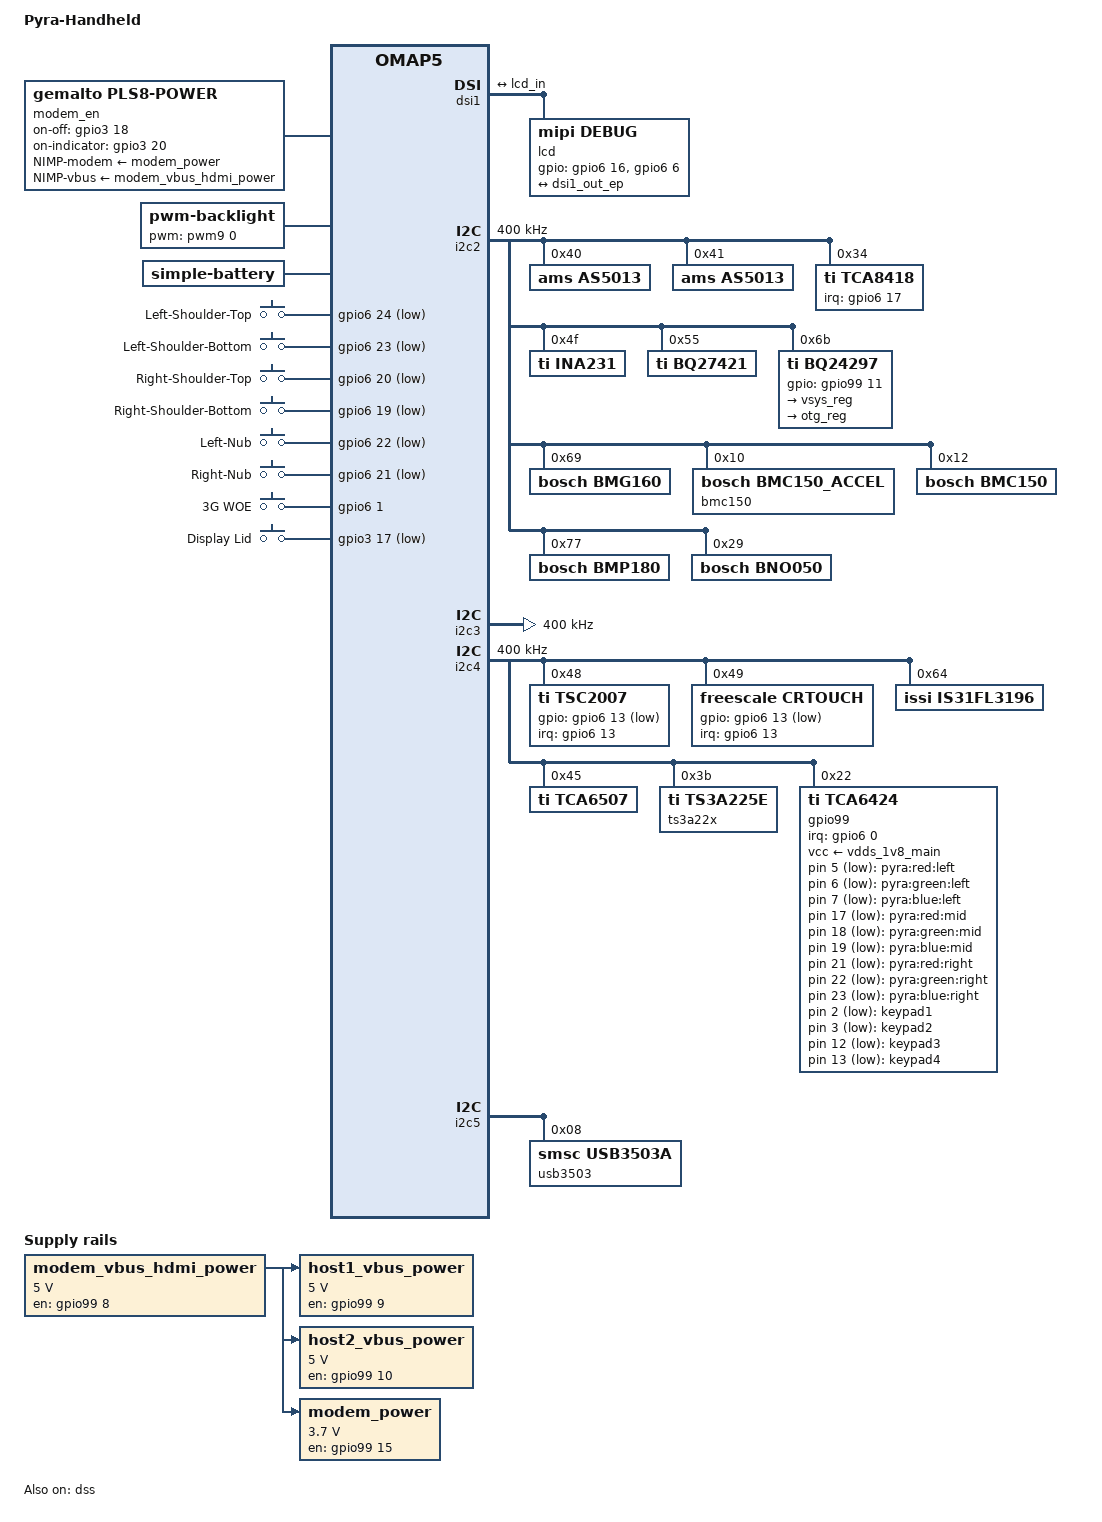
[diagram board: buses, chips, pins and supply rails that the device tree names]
/*
 * Copyright (C) 2014 OpenPandora - http://www.pyra-handheld.com/
 *
 * This program is free software; you can redistribute it and/or modify
 * it under the terms of the GNU General Public License version 2 as
 * published by the Free Software Foundation.
 */

/*
 * this version is for DragonFly Mainboard V4(.x) connected to EVM
 * we start with the omap5-uevm tree since the Pyra is currently a
 * separate board connected to the EVM expansion connector(s)
 */

#include "omap5-uevm.dts"

/* overwrite device model */

/ {
	model = "Pyra-Handheld";

	aliases {
		display0 = &lcd;
		display1 = &hdmi0;
	};

	/* DC/DC converter for LCD panel */
/* disabled because the r63311 driver can control it */
/*	dsi1_panel_power: dsi1_panel_power_reg {
		compatible = "regulator-fixed";
		regulator-name = "dsi1_panel_power";
		regulator-min-microvolt = <5000000>;
		regulator-max-microvolt = <5000000>;
		gpio = <&gpio6 6 0>;	/ * gpio6_166 = display-enable * /
		startup-delay-us = <70000>;
		enable-active-high;
	}; */

	/* DC/DC converter for USB Host ports, Modem USB and HDMI 5V */
	modem_vbus_hdmi_power: tps2505_reg {
		compatible = "regulator-fixed";
		regulator-name = "modem_vbus_hdmi_power";
		regulator-min-microvolt = <5000000>;
		regulator-max-microvolt = <5000000>;
		gpio = <&gpio99 8 GPIO_ACTIVE_HIGH>;
		enable-active-high;
		startup-delay-us = <70000>;
//		vin-supply = <&vsys>;
		regulator-always-on;
	};

	/* this are the DC/DC converters that supply the
	   5V to USB devices connected to the Host ports.
	   They should be under the (software) control
	   of the USB3503A hub on the CPU board */

	host1_vbus_power:host1_vbus_power_reg {
		compatible = "regulator-fixed";
		regulator-name = "host1_vbus_power";
		regulator-min-microvolt = <5000000>;
		regulator-max-microvolt = <5000000>;
		gpio = <&gpio99 9 GPIO_ACTIVE_HIGH>;
		enable-active-high;
		startup-delay-us = <70000>;
		vin-supply = <&modem_vbus_hdmi_power>;
		regulator-always-on;
	};

	host2_vbus_power: host2_vbus_power_reg {
		compatible = "regulator-fixed";
		regulator-name = "host2_vbus_power";
		regulator-min-microvolt = <5000000>;
		regulator-max-microvolt = <5000000>;
		gpio = <&gpio99 10 GPIO_ACTIVE_HIGH>;
		enable-active-high;
		startup-delay-us = <70000>;
		vin-supply = <&modem_vbus_hdmi_power>;
		regulator-always-on;
	};

	/* this is the modem power switch (similar to a LDO) */
	modem_power: modem_power_reg {
		compatible = "regulator-fixed";
		regulator-name = "modem_vbus_power";
		regulator-min-microvolt = <3700000>;
		regulator-max-microvolt = <3700000>;
		gpio = <&gpio99 15 GPIO_ACTIVE_HIGH>;
		enable-active-high;
		startup-delay-us = <100000>;
		/* the real input is vsys but it makes no sense
		   to power the modem without requesting vbus */
		vin-supply = <&modem_vbus_hdmi_power>;
		regulator-always-on;
	};

	modem_en: modem { /* control modem power through rfkill */
		compatible = "gemalto,pls8-power";
		gpio-controller;
		#gpio-cells = <2>;
		NIMP-usb-port = <&hsusb2_phy>; 	/* USB phy where we can check the modem status */
		on-off-gpio = <&gpio3 18 GPIO_ACTIVE_HIGH>;	/* GPIO3_82: trigger to power on modem */
		on-indicator-gpio = <&gpio3 20 GPIO_ACTIVE_HIGH>;	/* Feedback GPIO */
		NIMP-modem-supply = <&modem_power>;		/* enable external power regulator */
		/* VBUS supply should probably be controlled through the USB PHY driver for the modem port */
		NIMP-vbus-supply = <&modem_vbus_hdmi_power>;	/* apply VBUS to the modem */
	};

/*	mic_presence {
/* FIXME: a dedicated TS3A225 driver can reprogram the MIC_PRESENT line through I2C into an INT so we can detect other changes (e.g. mic button pressed) * /
		compatible = "extcon-gpio";
		label = "mic_presence";
		interrupt-parent = <&gpio99>;
		interrupts = <14 IRQ_TYPE_EDGE_BOTH>;
		gpios = <&gpio99 14 GPIO_ACTIVE_LOW>;
		// debounce-delay-ms = <10>; -- not available at tca6424
		state-on = "present";
		state-off = "unplugged";
	}; */

/* FIXME: having both leads to an irq conflict */
/*	mic_presence_evm { /* move this to omap5-uevm.dts */
/*		compatible = "extcon-gpio";
		label = "mic_presence_evm";
		interrupt-parent = <&gpio9>;
		interrupts = <14 IRQ_TYPE_EDGE_BOTH>;
		gpios = <&gpio9 14 GPIO_ACTIVE_LOW>;
		// debounce-delay-ms = <10>; -- not available at tca6424
		state-on = "present";
		state-off = "unplugged";
	}; */

/*	extcon_test { /* if enabled, disable BTN1 */
/*		compatible = "extcon-gpio";
		label = "user_button";
		interrupt-parent = <&gpio3>;
		interrupts = <19 2>;
		gpios = <&gpio3 19 1>;	/* gpio3_83 is BTN1 */
/*		debounce-delay-ms = <50>;
		state-on = "status-on";
		state-off = "status-off";
	}; */

	backlight {
		compatible = "pwm-backlight";
		pwms = <&pwm9 0 12000000 0>;
		pwm-names = "backlight";
		brightness-levels = <0 11 20 30 40 50 60 70 80 90 100>;
		default-brightness-level = <9>;	/* => 90 */
		pinctrl-names = "default";
		pinctrl-0 = <&backlight_pins>;
	};

	pwm9: dmtimer-pwm@9 {
		compatible = "ti,omap-dmtimer-pwm";
		ti,timers = <&timer9>;
		#pwm-cells = <3>;
	};

	bat: battery {
		compatible = "simple-battery", "pyra-battery";
		voltage-min-design-microvolt = <3200000>;
		energy-full-design-microwatt-hours = <22200000>;
		charge-full-design-microamp-hours = <6000000>;
	};

};

&palmas_power_button {
	ti,palmas-long-press-seconds = <8>;
	ti,palmas-pwron-debounce-milli-seconds = <15>;
};

/* Audio routing */

&sound {
	ti,model = "Pyra-Handheld";

	/* Audio routing */
	ti,audio-routing =
		"Headset Stereophone", "HSOL",
		"Headset Stereophone", "HSOR",
		"Ext Spk", "HFL",
		"Ext Spk", "HFR",
		"Line Out", "AUXL",
		"Line Out", "AUXR",
		"AFML", "Line In",
		"AFMR", "Line In",
		"HSMIC", "Headset Mic",
		"Headset Mic", "Headset Mic Bias";
};

/* LCD panel - MIPI */

&dss {
	status = "ok";

	pinctrl-names = "default";
	pinctrl-0 = <&pyra_dsi_a>;
};

&dsi1 {
	status = "ok";

	vdd-supply = <&ldo4_reg>;

	port {
		dsi1_out_ep: endpoint {
			remote-endpoint = <&lcd_in>;
			lanes = <
				0       /* lane0x = clk + */
				1       /* lane0y = clk - */
				2       /* lane1x = data1 + */
				3       /* lane1y = data1 - */
				4       /* lane2x = data2 + */
				5       /* lane2y = data2 - */
				6       /* lane3x = data3 + */
				7       /* lane3y = data3 - */
				8       /* lane4x = data4 + */
				9       /* lane4y = data4 - */
			>;
		};
	};

	lcd: lcd {
		/* default to be overwritten by specific panel in derived board file
		   by using the /root/panelselect script */
		compatible = "mipi,debug";
		label = "lcd";

		pinctrl-names = "default";
		pinctrl-0 = <&pyra_display_pins>;

		gpios =
			<&gpio6 16 0>,	/* goip6_176 = display reset */
			<&gpio6 6 0>;	/* gpio6_166 = enable DC/DC */

		port {
			lcd_in: endpoint {
				remote-endpoint = <&dsi1_out_ep>;
			};
		};
	};
};


/* add overlay pimmux for pyra on 5432evm */

&mcspi3_pins {
		pinctrl-single,pins = <
/* allow to reuse as real gpio:	0x78 (PIN_INPUT | MUX_MODE1)	/*  mcspi3_somi = gpio3_84 */
			0x7a (PIN_INPUT | MUX_MODE1)		/*  mcspi3_cs0 = gpio3_85 */
			0x7c (PIN_INPUT | MUX_MODE1)		/*  mcspi3_simo = gpio3_86 */
			0x7e (PIN_INPUT | MUX_MODE1)		/*  mcspi3_clk =gpio3_87 */
		>;
	};

&omap5_pmx_core {

	pinctrl-0 = <
			/* copied from original */
			&usbhost_pins
			&led_gpio_pins

			/* new entries */
			&pyra_button_pins
			// &pyra_display_pins
			&pyra_other_pins
			// &i2c2_pins
			// &i2c3_pins
			// &i2c4_pins
			// &i2c5_pins
			// &pyra_dsi_a
	>;

/* this is for DragonFly V4 connected to EVM through a ribbon acable
// inputs
#define GPIO_LID 81			// lid close sensor - gpio3-81 - open collector output
#define GPIO_3G_PWR 84			// modem power indication - gpio3-84
#define GPIO_WAKEUP -1			// wakeup from modem - n/a
#define GPIO_PENIRQ 173		// touch screen controller IRQ - gpio6-173
#define GPIO_LNUB_IRQ 174		// left nub IRQ - n/a
#define GPIO_RNUB_IRQ 175		// right nub IRQ - n/a
#define GPIO_KEYIRQ 177		// keyboard controller IRQ - gpio6-177
#define GPIO_RSH_BOT 179		// right bottom shoulder button - gpio6-179 - closes to GND
#define GPIO_RSH_TOP 180		// right top shoulder button - gpio6-180 - closes to GND
#define GPIO_RNUB 181			// right nub center button - gpio6-181 - closes to GND
#define GPIO_LNUB 182			// left nub center button - gpio6-182 - closes to GND
#define GPIO_LSH_BOT 183		// left bottom shoulder button - gpio6-183 - closes to GND
#define GPIO_LSH_TOP 184		// left top shoulder button - gpio6-184 - closes to GND
#define GPIO_VSYNC 189			// VSYNC input (gpio6_189 in: comes from panel)
// outputs
#define GPIO_3G_IGNITE 82		// start modem (active high pulse) - gpio3-82
#define GPIO_DISPEN 166		// enable TPS65133 or ssd2858 - gpio6_166
#define GPIO_DISPLAY_RESET 176		// panel reset (active low)/enable - gpio6_176
#define GPIO_PWM 190			// enable 18V backlight (active high) - timer9/gpio6_190 (out) - or input to track what the panel is doing
#define GPIO_PERIPHERAL_RESET 230	// device reset (active low)/enable - gpio8_230
*/

/* to find pinmux register offsets, see section A.7.2 in TRM

   note: offsets in the table are relative to 0x4a00 2800
   but reg = <0x4a002840 0x01b6> for omap5_pmx_core

   Therefore gpio5_153 with Address Offset 0x1D4
   translates into 0x194 (0xd0-0x40 => 0x90)
   and because it has [31:16] we have to add 0x02
   giving a result of 0x196.

   Definitions for bit patterns:
   0x0007	MUX_MODE0 .. MUX_MODE7
   0x0008	enable pull up/down
   0x0010	select pull up
   0x0020	disable power for I/O cell
   0x0100	enable input buffer (there is no explicit "enable output buffer" because that is defined by the GPIO direction)
   0x4000	enable wakeup detection

   or use the OMAP5_IOPAD() macros to do the conversion. You still have to look
   up the pin and register address offset in the TRM.
*/

	pyra_button_pins: pinmux_button_gpio_pins {
		pinctrl-single,pins = <
			OMAP5_IOPAD(0x0b2, PIN_INPUT_PULLUP | MUX_MODE6)	/* 0x0B0:[31:16] gpio3_81 - lid */
			OMAP5_IOPAD(0x12e, PIN_INPUT_PULLUP | MUX_MODE6)	/* 0x12C:[31:16] gpio6_161 */
			OMAP5_IOPAD(0x10c, PIN_INPUT_PULLUP | MUX_MODE6)	/* 0x10C:[15:0]  gpio6_177 */
			OMAP5_IOPAD(0x108, PIN_INPUT_PULLUP | MUX_MODE6)	/* 0x108:[15:0]  gpio6_179 */
			OMAP5_IOPAD(0x106, PIN_INPUT_PULLUP | MUX_MODE6)	/* 0x104:[31:16] gpio6_180 */
			OMAP5_IOPAD(0x104, PIN_INPUT_PULLUP | MUX_MODE6)	/* 0x104:[15:0]  gpio6_181 */
			OMAP5_IOPAD(0x130, PIN_INPUT_PULLUP | MUX_MODE6)	/* 0x130:[15:0]  gpio6_182 */
			OMAP5_IOPAD(0x132, PIN_INPUT_PULLUP | MUX_MODE6)	/* 0x130:[31:16] gpio6_183 */
			OMAP5_IOPAD(0x134, PIN_INPUT_PULLUP | MUX_MODE6)	/* 0x134:[15:0]  gpio6_184 */
		>;
	};

	pyra_display_pins: pinmux_display_gpio_pins {
		pinctrl-single,pins = <
			OMAP5_IOPAD(0x122, PIN_OUTPUT_PULLUP | MUX_MODE6)	/* 0x120:[31:16] gpio6_166 - enable panel DC/DC */
			OMAP5_IOPAD(0x10e, PIN_OUTPUT_PULLDOWN | MUX_MODE6)	/* 0x10c:[31:16] gpio6_176 - panel reset */
		>;
	};

	pyra_other_pins: pinmux_other_gpio_pins {
		pinctrl-single,pins = <
			OMAP5_IOPAD(0x12c, PIN_INPUT_PULLUP | MUX_MODE6)	/* 0x12C:[15:0]  gpio6_160 - TCA6424 active low interrupt */
			OMAP5_IOPAD(0x0b4, PIN_OUTPUT_PULLDOWN | MUX_MODE6)	/* 0x108:[15:0]  gpio3_82 - start modem */
			OMAP5_IOPAD(0x0b8, PIN_INPUT | MUX_MODE6)	/* 0x108:[15:0] gpio3_84 - modem power ind */
			OMAP5_IOPAD(0x114, PIN_INPUT_PULLUP | MUX_MODE6)	/* 0x114:[15:0]  gpio6_173 - touch screen */
			OMAP5_IOPAD(0x178, PIN_INPUT_PULLUP | MUX_MODE6)	/* 0x178:[15:0]  gpio8_230 - reset I2C peripherals */
		>;
	};

	backlight_pins: pinmux_backlight_pins {
		pinctrl-single,pins = <
			/* MUX_MODE0 for PWM_TIMER9, MUX_MODE6 for GPIO, MUX_MODE7 if panel provides the PWM signal */
			OMAP5_IOPAD(0x0f6, PIN_OUTPUT_PULLDOWN | MUX_MODE0)	/* 0x0F4:[31:16] timer9/gpio6_190 */
		>;
	};

/* I2C pinmux */

	i2c2_pins: pinmux_i2c2_pins {
		pinctrl-single,pins = <
			OMAP5_IOPAD(0x1b8, PIN_INPUT_PULLUP | MUX_MODE0)		/* i2c2_scl */
			OMAP5_IOPAD(0x1ba, PIN_INPUT_PULLUP | MUX_MODE0)		/* i2c2_sda */
		>;
	};

	i2c3_pins: pinmux_i2c3_pins {
		pinctrl-single,pins = <
			OMAP5_IOPAD(0x17a, PIN_INPUT_PULLUP | MUX_MODE0)		/* i2c3_scl */
			OMAP5_IOPAD(0x17c, PIN_INPUT_PULLUP | MUX_MODE0)		/* i2c3_sda */
		>;
	};

	i2c4_pins: pinmux_i2c4_pins {
		pinctrl-single,pins = <
			OMAP5_IOPAD(0x0f8, PIN_INPUT_PULLUP | MUX_MODE0)		/* i2c4_scl (gpio7_200) */
			OMAP5_IOPAD(0x0fa, PIN_INPUT_PULLUP | MUX_MODE0)		/* i2c4_sda (gpio7_201) */
		>;
	};

/*	i2c5_pins: pinmux_i2c5_pins {
		pinctrl-single,pins = <
// CHECKME: is this 0x186 + 0x188 or 0x184+0x186 as defined in omap5.dtsi?
			OMAP5_IOPAD(0x1c6, PIN_INPUT | MUX_MODE0)		/* i2c5_scl * /
			OMAP5_IOPAD(0x1c8, PIN_INPUT | MUX_MODE0)		/* i2c5_sda * /
		>;
	}; */

/* enable MIPI pinmux - we may not really need this because the PinMux only has MUX_MODE0 */

	pyra_dsi_a: pinmux_dsi_a_pins {
		pinctrl-single,pins = <
			OMAP5_IOPAD(0x0cc, PIN_OUTPUT | MUX_MODE0)	/* 0x0cc:[15:0]  dsiporta_lane0x */
			OMAP5_IOPAD(0x0ce, PIN_OUTPUT | MUX_MODE0)	/* 0x0cc:[31:16] dsiporta_lane0y */
			OMAP5_IOPAD(0x0d0, PIN_OUTPUT | MUX_MODE0)	/* 0x0d0:[15:0]  dsiporta_lane1x */
			OMAP5_IOPAD(0x0d2, PIN_OUTPUT | MUX_MODE0)	/* 0x0d0:[31:16] dsiporta_lane1y */
			OMAP5_IOPAD(0x0d4, PIN_OUTPUT | MUX_MODE0)	/* 0x0d4:[15:0]  dsiporta_lane2x */
			OMAP5_IOPAD(0x0d6, PIN_OUTPUT | MUX_MODE0)	/* 0x0d4:[31:16] dsiporta_lane2y */
			OMAP5_IOPAD(0x0d8, PIN_OUTPUT | MUX_MODE0)	/* 0x0d8:[15:0]  dsiporta_lane3x */
			OMAP5_IOPAD(0x0da, PIN_OUTPUT | MUX_MODE0)	/* 0x0d8:[31:16] dsiporta_lane3y */
			OMAP5_IOPAD(0x0dc, PIN_OUTPUT | MUX_MODE0)	/* 0x0dc:[15:0]  dsiporta_lane4x */
			OMAP5_IOPAD(0x0de, PIN_OUTPUT | MUX_MODE0)	/* 0x0dc:[31:16] dsiporta_lane4y */
		>;
	};

	ssd2858_vsync_pins: pinmux_ssd2858_vsync_pins {
		pinctrl-single,pins = <
			OMAP5_IOPAD(0x0ca, PIN_INPUT_PULLDOWN | MUX_MODE6)	/* 0x0C8:[31:16] gpio6_189 - VSYNC input */
		>;
	};

};

&i2c2 {
	clock-frequency = <400000>;

	pinctrl-names = "default";
	pinctrl-0 = <&i2c2_pins>;
};

&i2c3 {
	clock-frequency = <400000>;

	pinctrl-names = "default";
	pinctrl-0 = <&i2c3_pins>;
};

&i2c4 {
	clock-frequency = <400000>;

	pinctrl-names = "default";
	pinctrl-0 = <&i2c4_pins>;
};

/* register devices connected to Panel-I2C */
&i2c4 {
	/* touchscreen */
	tsc2007@48 {
		compatible = "ti,tsc2007";
		reg = <0x48>;
		pinctrl-names = "default";
/* FIXME:		pinctrl-0 = <&penirq_pins>; */
		interrupt-parent = <&gpio6>;
		interrupts = <13 IRQ_TYPE_EDGE_FALLING>;	/* gpio6_173 falling edge */
		gpios = <&gpio6 13 GPIO_ACTIVE_LOW>;	/* gpio6_173 active low */
/* note: overwrite for rotated screen */
		touchscreen-size-x = <720>;
		touchscreen-size-y = <1280>;
		touchscreen-max-pressure = <1000>;
		touchscreen-fuzz-x = <2>;
		touchscreen-fuzz-y = <5>;
		touchscreen-fuzz-pressure = <50>;
		touchscreen-inverted-y;
		ti,min-x = <140>;
		ti,max-x = <3870>;
		ti,min-y = <50>;
		ti,max-y = <3970>;
		ti,max-rt = <2000>;
		ti,x-plate-ohms = <550>;
	};

	crtouch@49 {
		compatible = "freescale,crtouch";
		reg = <0x49>;
		interrupt-parent = <&gpio6>;
		interrupts = <13 IRQ_TYPE_EDGE_FALLING>;	/* gpio6_173 falling edge */
		gpios = <&gpio6 13 1>;	/* gpio6_173 active low */
		/* more paramters tbd. */
	};

	/* leds */
	is31fl3196@64 {
		compatible = "issi,is31fl3196";
		#address-cells = <1>;
		#size-cells = <0>;
		reg = <0x64>;

		display_led0: red_bottom@0 {
			label = "logo:red:bottom";
			reg = <0>;
			linux,default-trigger = "mmc0";
		};

		display_led1: green_bottom@1 {
			label = "logo:green:bottom";
			reg = <1>;
			linux,default-trigger = "heartbeat";
		};

		display_led2: blue_bottom@2 {
			label = "logo:blue:bottom";
			reg = <2>;
			linux,default-trigger = "timer";
		};

		display_led3: red_top@3 {
			label = "logo:red:top";
			reg = <3>;
			linux,default-trigger = "mmc1";
		};

		display_led4: green_top@4 {
			label = "logo:green:top";
			reg = <4>;
			linux,default-trigger = "timer";
		};

		display_led5: blue_top@5 {
			label = "logo:blue:top";
			reg = <5>;
			linux,default-trigger = "default-on";
		};
	};

	tca6507@45 {
		compatible = "ti,tca6507";
		#address-cells = <1>;
		#size-cells = <0>;
		reg = <0x45>;

		/* unused */
		/* gpio-controller;
		#gpio-cells = <2>; */

		red_aux@0 {
			label = "display::led-0";
			reg = <0x0>;
			linux,default-trigger = "mmc0";
		};

		green_aux@1 {
			label = "display::led-1";
			reg = <0x1>;
			linux,default-trigger = "heartbeat";
		};

		blue_aux@2 {
			label = "display::led-2";
			reg = <0x2>;
			linux,default-trigger = "timer";
		};

		set1@3 {
			label = "display::led-3";
			reg = <0x3>;
			linux,default-trigger = "default-on";
		};

		set2@4 {
			label = "display::led-4";
			reg = <0x4>;
			linux,default-trigger = "timer";
		};

		set3@5 {
			label = "display::led-5";
			reg = <0x5>;
			linux,default-trigger = "mmc0";
		};

		set4@6 {
			label = "display::led-6";
			reg = <0x6>;
			linux,default-trigger = "heartbeat";
		};

	};

};

/* register devices connected to Peripheral-I2C */
&i2c2 {

	/* left nub */
	as5013@40 {
		compatible = "ams,as5013";
		reg = <0x40>;
		// gpios = <&gpio...>, <&gpio>;
	};

	/* right nub */
	as5013@41 {
		compatible = "ams,as5013";
		reg = <0x41>;
		// gpios = <&gpio...>, <&gpio>;
	};

	/* keyboard scanner */
	tca8418@34 {
		compatible = "ti,tca8418";	/* this translates into request_module("i2c:tca8418")
									   so it must be known as a MODULE_ALIAS to modprobe -c */
		reg = <0x34>;
		/* the interrupt is specified as:
			The first cell is the GPIO number.
			The second cell is used to specify flags:
			bits[3:0] trigger type and level flags:
				1 = low-to-high edge triggered.
				2 = high-to-low edge triggered.
				4 = active high level-sensitive.
				8 = active low level-sensitive.
		 */
		interrupt-parent = <&gpio6>;
		interrupts = <17 IRQ_TYPE_EDGE_RISING>;	/* gpio6_177 low-to-high edge */
		keypad,num-rows = <8>;
		keypad,num-columns = <10>;
		linux,keymap = <
	/* The 32-bit big endian cell is packed as: row << 24 | column << 16 | key-code */

			0x0306003b
			0x0203003c
			0x02040057
			0x01080058
			0x0102003d
			0x0701003e
			0x07030002
			0x06070003
			0x06010004
			0x05050005
			0x06060006
			0x04030007
			0x03070008
			0x03050009
			0x0205000a
			0x0107000b
			0x0702000e
			0x0503000f
			0x06040010
			0x05080011
			0x05020012
			0x04060013
			0x06020014
			0x03040015
			0x02080016
			0x02020017
			0x01060018
			0x00050019
			0x0004001c
			0x0400002a
			0x0506001e
			0x0401001f
			0x04040020
			0x03080021
			0x03020022
			0x02060023
			0x01030024
			0x01040025
			0x00080026
			0x00020036
			0x07060033
			0x06030034
			0x0507002c
			0x0501002d
			0x0405002e
			0x0407002f
			0x03030030
			0x02070031
			0x07040032
			0x01050039
			0x00070039
			0x00000064
			0x01090069
			0x0309006a
			0x00090067
			0x0209006c
			0x05090066
			0x0709006b
			0x04090068
			0x0609006d
			0x03000038
			0x0200001d
			0x01000001
			0x00010036
			0x0101004e
			0x03010061
			0x0201004a
			0x07000110
			0x06000111
		>;
	};

	/* modem current sensor */
	ina231@4f {
		compatible = "ti,ina231";
		reg = <0x4f>;
		shunt-resistor = <20000>;	/* 20 mOhm */
	};

	/* fuel gauge variant 1 */
/* not installed due to bus speed issue
	bq27200@55 {
		compatible = "ti,bq27200";
		reg = <0x55>;
		monitored-battery = <&bat>;
	}; */

	/* fuel gauge variant 2 */
	bq27421@55 {
		compatible = "ti,bq27421";
		reg = <0x55>;
		monitored-battery = <&bat>;
	};

	/* charger */
	bq24297@6b {
		/* FIXME: driver is quite broken because it is a hack */
		compatible = "ti,bq24297";
		reg = <0x6b>;
		monitored-battery = <&bat>;
		ti,chg_current = <1000 500 2000>;	// chg_current (max for the battery), usb_input_current, adp_input_current
		gpios = <&gpio99 11 0>,		// chg_irq_pin
			<0>;			// dc_det_pin - if 0, charger is switched by driver to 2048mA, otherwise 512mA
		regulators {
			vsys_reg: vsys_regulator {
				/* add information */
				regulator-compatible = "bq2429x-vsys";
				regulator-name = "vsys";
//				regulator-min-microvolt = <3700000>;
//				regulator-max-microvolt = <3700000>;
				regulator-always-on;
				regulator-boot-on;
			};
			otg_reg: otg_regulator {
				/* add information */
				regulator-compatible = "bq2429x-otg";
				regulator-name = "otg";
//				regulator-min-microvolt = <5000000>;
//				regulator-max-microvolt = <5000000>;
			};
		};
	};

};

/* register devices connected to Sensor-I2C */
&i2c2 {
	/* gyroscope sensor */
	bmg160@69 {
		compatible = "bosch,bmg160";
		reg = <0x69>;
	};
	/* accelerometer sensor */
	bmc150@10 {
		compatible = "bosch,bmc150_accel";
		reg = <0x10>;
/*		pinctrl-names = "default";
		pinctrl-0 = <&bmc150_pins>;
		interrupt-parent = <&gpio6>;
		interrupts = <9 (IRQ_TYPE_LEVEL_HIGH | IRQ_TYPE_EDGE_RISING)>;	/* gpio6_169 * /
*/
	};
	/* compass sensor */
	bmc150@12 {
		compatible = "bosch,bmc150";
		reg = <0x12>;
	};
	/* barometer sensor */
	bmp180@77 {
		compatible = "bosch,bmp180";
		reg = <0x77>;
	};
	/* 9-axis sensor */
	bno050@29 {
		compatible = "bosch,bno050";
		reg = <0x29>;
	};
};

/* register devices connected to System-I2C */
&i2c4 {
	/* microphone detect */
	ts3a22x@3b {
		compatible = "ti,ts3a225e";
		reg = <0x3b>;
//		interrupt-parent = <&gpio99>;
//		interrupts = <x IRQ_TYPE_LEVEL_LOW>;
		ti,micbias = <0>;	/* 2.1V */
	};

	/* system/keyboard-led and other controls */
	gpio99: tca6424@22 {
		compatible = "ti,tca6424";
		interrupt-parent = <&gpio6>;
		interrupts = <0 IRQ_TYPE_LEVEL_LOW>;	/* gpio6_160 */
		interrupt-controller;
		#interrupt-cells = <2>;
		vcc-supply = <&vdds_1v8_main>;
		reg = <0x22>;
		gpio-controller;
		#gpio-cells = <2>;
		gpio-line-names =
			"hdmi-ct-hpd", "hdmi.ls-oe", "p02", "p03", "vibra", "fault2", "p06", "p07",
			"en-usb", "en-host1", "en-host2", "chg-int", "p14", "p15", "mic-int", "en-modem",
			"shdn-hs-amp", "chg-status+red", "green", "blue", "en-esata", "fault1", "p26", "p27";
		open-drain-pins = <2 3 5 6 7 12 13 17 18 19 21 22 23>;
	};
};

&i2c5 { // should have been defined in omap5-uevm.dts! - but the bus is not connected on the EVM!

	/* usb bridge */
	usb3503@8 {
		compatible = "smsc,usb3503a";
		reg = <0x08>;
/*
	//	refclk	// comes from OMAP5 FREF_CLK1_OUT/GPIO1_W K11
	//	refclk-frequency
	//	connect-gpios
		disabled-ports = <3>;
		intn-gpios = <&gpio9 22 GPIO_ACTIVE_HIGH>;
		reset-gpios = <&gpio3 16 GPIO_ACTIVE_HIGH>;	// might be in conflict with reset-gpios of the ususb2_phy
		initial-mode = <1>;
*/
	};
};

/ {
	pyra_leds {
		compatible = "gpio-leds";
		led@1 {
			label = "pyra:red:left";
			gpios = <&gpio99 5 GPIO_ACTIVE_LOW>;
			linux,default-trigger = "none";
			default-state = "off";
		};

		led@2 {
			label = "pyra:green:left";
			gpios = <&gpio99 6 GPIO_ACTIVE_LOW>;
			linux,default-trigger = "none";
			default-state = "off";
		};

		led@3 {
			label = "pyra:blue:left";
			gpios = <&gpio99 7 GPIO_ACTIVE_LOW>;
			linux,default-trigger = "none";
			default-state = "off";
		};

		led@4 {
			label = "pyra:red:mid";
			gpios = <&gpio99 17 GPIO_ACTIVE_LOW>;
			linux,default-trigger = "none";
			default-state = "off";
		};

		led@5 {
			label = "pyra:green:mid";
			gpios = <&gpio99 18 GPIO_ACTIVE_LOW>;
			linux,default-trigger = "none";
			default-state = "off";
		};

		led@6 {
			label = "pyra:blue:mid";
			gpios = <&gpio99 19 GPIO_ACTIVE_LOW>;
			linux,default-trigger = "timer";
			default-state = "off";
		};

		led@7 {
			label = "pyra:red:right";
			gpios = <&gpio99 21 GPIO_ACTIVE_LOW>;
			linux,default-trigger = "none";
			default-state = "off";
		};

		led@8 {
			label = "pyra:green:right";
			gpios = <&gpio99 22 GPIO_ACTIVE_LOW>;
			linux,default-trigger = "none";
			default-state = "off";
		};

		led@9 {
			label = "pyra:blue:right";
			gpios = <&gpio99 23 GPIO_ACTIVE_LOW>;
			linux,default-trigger = "none";
			default-state = "off";
		};

	};

	keypad_leds {
		compatible = "gpio-leds";
		led@1 {
			label = "keypad1";
			gpios = <&gpio99 2 GPIO_ACTIVE_LOW>;
			linux,default-trigger = "none";
			default-state = "off";
		};

		led@2 {
			label = "keypad2";
			gpios = <&gpio99 3 GPIO_ACTIVE_LOW>;
			linux,default-trigger = "none";
			default-state = "off";
		};

		led@3 {
			label = "keypad3";
			gpios = <&gpio99 12 GPIO_ACTIVE_LOW>;
			linux,default-trigger = "none";
			default-state = "off";
		};

		led@4 {
			label = "keypad4";
			gpios = <&gpio99 13 GPIO_ACTIVE_LOW>;
			linux,default-trigger = "none";
			default-state = "off";
		};
	};
};

/ {
	gpio-keys-1 {
		compatible = "gpio-keys";

		#address-cells = <2>;
		#size-cells = <0>;

		left_shoulder_top {
			label = "Left-Shoulder-Top";
			linux,code = <16>;	/* KEY_Q */
			// CHECKME: polarity may change for next revision!
			gpios = <&gpio6 24 GPIO_ACTIVE_LOW>;	/* gpio6_184 */
			gpio-key,wakeup;
		};

		left_shoulder_bottom {
			label = "Left-Shoulder-Bottom";
			linux,code = <44>;	/* KEY_Z */
			gpios = <&gpio6 23 GPIO_ACTIVE_LOW>;	/* gpio6_183 */
			gpio-key,wakeup;
		};

		right_shoulder_top {
			label = "Right-Shoulder-Top";
			linux,code = <25>;	/* KEY_P */
			gpios = <&gpio6 20 GPIO_ACTIVE_LOW>;	/* gpio6_180 */
			gpio-key,wakeup;
		};

		right_shoulder_bottom {
			label = "Right-Shoulder-Bottom";
			linux,code = <50>;	/* KEY_M */
			gpios = <&gpio6 19 GPIO_ACTIVE_LOW>;	/* gpio6_179 */
			gpio-key,wakeup;
		};

		left_nub {
			label = "Left-Nub";
			linux,code = <38>;	/* KEY_L */
			gpios = <&gpio6 22 GPIO_ACTIVE_LOW>;	/* gpio6_182 */
			gpio-key,wakeup;
		};

		right_nub {
			label = "Right-Nub";
			linux,code = <19>;	/* KEY_R */
			gpios = <&gpio6 21 GPIO_ACTIVE_LOW>;	/* gpio6_181 */
			gpio-key,wakeup;
		};

	};

	gpio-keys-2 {
		compatible = "gpio-keys";

		#address-cells = <2>;
		#size-cells = <0>;

		wwan_wakeup {
			label = "3G WOE";
			linux,code = <17>;	/* KEY_W */
			gpios = <&gpio6 1 GPIO_ACTIVE_HIGH>;	/* gpio6_161 */
			gpio-key,wakeup;
			/* debounce-interval */
		};

		display_lid {
			label = "Display Lid";
			linux,input-type = <5>; /* EV_SW */
			linux,code = <0>; /* SW_LID */
			gpios = <&gpio3 17 GPIO_ACTIVE_LOW>;	/* gpio3_81 */
			gpio-key,wakeup;
		};

	};

};
